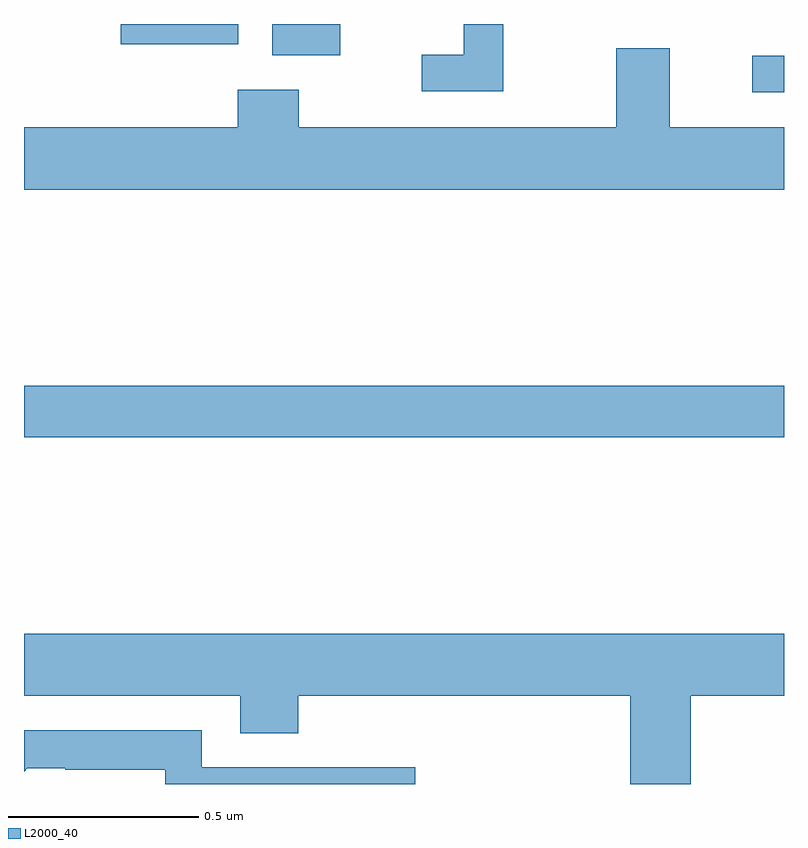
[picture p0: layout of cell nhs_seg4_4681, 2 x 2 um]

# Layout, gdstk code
import gdstk
lib = gdstk.Library(unit=1e-6, precision=1e-09)
def R(c, l, rs):  # rectangles x0, y0, x1, y1
    for r in rs: c.add(gdstk.rectangle(r[:2], r[2:], *l))
def P(c, l, *ps):  # polygons
    for p in ps: c.add(gdstk.Polygon(p, *l))
L2000_40 = (2000, 40)

nhs_seg4_4681 = lib.new_cell('nhs_seg4_4681')
R(nhs_seg4_4681, L2000_40, [(168,818.812,170,818.948), (169.917,819.72,170,819.816), (168.653,819.818,168.832,819.9), (168.255,819.847,168.564,819.9)])
P(nhs_seg4_4681, L2000_40, [(169.261,819.9),(169.157,819.9),(169.157,819.819),(169.047,819.819),(169.047,819.723),(169.261,819.723)],
  [(170,819.628),(169.699,819.628),(169.699,819.836),(169.559,819.836),(169.559,819.628),(168.723,819.628),(168.723,819.727),(168.563,819.727),(168.563,819.628),(168,819.628),(168,819.464),(170,819.464)],
  [(169.755,818.132),(170,818.132),(170,818.296),(168,818.296),(168,818.132),(168.569,818.132),(168.569,818.033),(168.722,818.033),(168.722,818.132),(169.595,818.132),(169.595,817.9),(169.755,817.9)],
  [(169.03,817.944),(168.468,817.944),(168.468,818.041),(168,818.041),(168,817.932),(168.009,817.941),(168.109,817.941),(168.109,817.937),(168.372,817.937),(168.372,817.9),(169.03,817.9)])

lib.write_gds('nhs_seg4_4681.gds')
